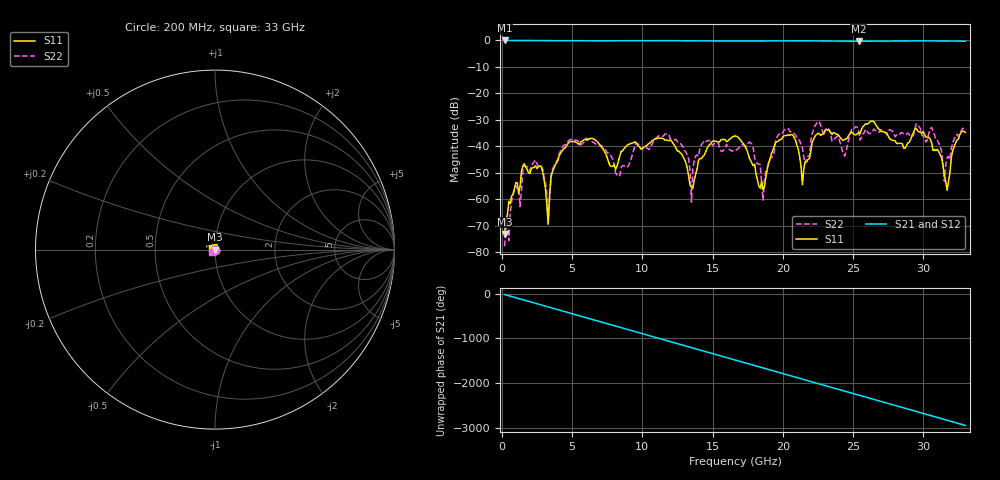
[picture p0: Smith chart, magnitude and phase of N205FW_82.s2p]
# GHZ S RI R 50
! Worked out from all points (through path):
!   329 points, 200 MHz to 33 GHz, reference 50 ohm
!   highest |S21| = -0.01 dB at 200 MHz (marker M1); lowest = -0.3 dB at 25.4 GHz (marker M2)
!   group delay of S21, straight-line fit = 248 ps
!   lowest |S11| = -73.1 dB at 200 MHz (marker M3), VSWR 1.00, Z = 50 - j0.0175 ohm
!   |S11| at or under -10 dB: start of sweep to end of sweep
!   |S22| runs from -77.7 to -30.6 dB; largest |S21 - S12| = 0.0022
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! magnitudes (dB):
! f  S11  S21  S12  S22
! 200 MHz  -73.1  0.0  0.0  -77.7
! 1.6 GHz  -46.6  0.0  0.0  -47.4
! 2.8 GHz  -47.6  -0.1  -0.1  -47.4
! 3.3 GHz  -69.4  -0.1  -0.1  -67.8
! 3.7 GHz  -48.3  -0.1  -0.1  -47.6
! 5.7 GHz  -38.1  -0.1  -0.1  -39.1
! 8.3 GHz  -45.7  -0.1  -0.1  -51.3
! 11.2 GHz  -36.9  -0.1  -0.1  -36.0
! 13.2 GHz  -48.1  -0.2  -0.2  -43.3
! 13.5 GHz  -55.3  -0.2  -0.2  -61.0
! 14.4 GHz  -43.4  -0.2  -0.2  -37.8
! 16.6 GHz  -36.1  -0.2  -0.2  -41.6
! 17.8 GHz  -46.3  -0.2  -0.2  -39.2
! 18.6 GHz  -56.6  -0.2  -0.2  -60.3
! 19.7 GHz  -37.9  -0.1  -0.1  -35.6
! 21.4 GHz  -54.5  -0.2  -0.2  -40.5
! 22.1 GHz  -38.4  -0.2  -0.2  -35.1
! 25.4 GHz  -34.8  -0.3  -0.3  -34.2
! 27.6 GHz  -37.1  -0.2  -0.2  -33.7
! 30 GHz  -34.4  -0.1  -0.1  -36.0
! 31.7 GHz  -56.6  -0.2  -0.2  -44.2
! 33 GHz  -34.7  -0.3  -0.3  -33.0
